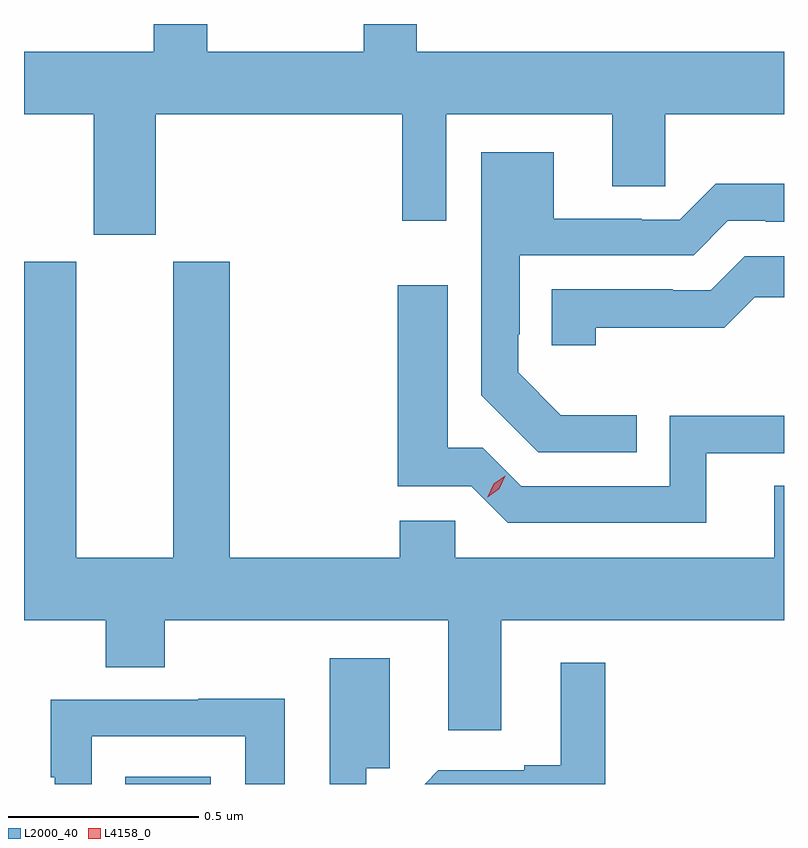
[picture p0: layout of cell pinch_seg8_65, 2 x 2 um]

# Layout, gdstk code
import gdstk
lib = gdstk.Library(unit=1e-6, precision=1e-09)
def R(c, l, rs):  # rectangles x0, y0, x1, y1
    for r in rs: c.add(gdstk.rectangle(r[:2], r[2:], *l))
def P(c, l, *ps):  # polygons
    for p in ps: c.add(gdstk.Polygon(p, *l))
L2000_40 = (2000, 40)
L4158_0 = (4158, 0)

pinch_seg8_65 = lib.new_cell('pinch_seg8_65')
R(pinch_seg8_65, L2000_40, [(885.26,1121.397,885.484,1121.416)])
P(pinch_seg8_65, L2000_40, [(885.34,1123.16),(885.988,1123.16),(885.988,1122.879),(886.104,1122.879),(886.104,1123.16),(886.541,1123.16),(886.541,1122.97),(886.68,1122.97),(886.68,1123.16),(886.993,1123.16),(886.993,1123.324),(886.027,1123.324),(886.027,1123.397),(885.887,1123.397),(885.887,1123.324),(885.475,1123.324),(885.475,1123.397),(885.335,1123.397),(885.335,1123.324),(884.993,1123.324),(884.993,1123.16),(885.176,1123.16),(885.176,1122.843),(885.34,1122.843)],
  [(886.606,1122.368),(886.406,1122.368),(886.293,1122.48),(886.293,1122.58),(886.297,1122.58),(886.297,1122.789),(886.755,1122.789),(886.845,1122.879),(886.945,1122.879),(886.945,1122.876),(886.993,1122.876),(886.993,1122.976),(886.813,1122.976),(886.719,1122.882),(886.619,1122.882),(886.619,1122.885),(886.387,1122.885),(886.387,1123.06),(886.196,1123.06),(886.196,1122.42),(886.346,1122.27),(886.606,1122.27)],
  [(886.498,1122.598),(886.836,1122.598),(886.916,1122.678),(886.993,1122.678),(886.993,1122.786),(886.89,1122.786),(886.8,1122.696),(886.7,1122.696),(886.7,1122.699),(886.382,1122.699),(886.382,1122.552),(886.498,1122.552)],
  [(886.249,1121.828),(886.993,1121.828),(886.993,1122.182),(886.967,1122.182),(886.967,1121.992),(886.128,1121.992),(886.128,1122.09),(885.982,1122.09),(885.982,1121.992),(885.534,1121.992),(885.534,1122.771),(885.386,1122.771),(885.386,1121.992),(885.13,1121.992),(885.13,1122.771),(884.993,1122.771),(884.993,1121.828),(885.208,1121.828),(885.208,1121.704),(885.363,1121.704),(885.363,1121.828),(886.109,1121.828),(886.109,1121.538),(886.249,1121.538)],
  [(886.789,1122.267),(886.993,1122.267),(886.993,1122.366),(886.692,1122.366),(886.692,1122.18),(886.302,1122.18),(886.2,1122.282),(886.108,1122.282),(886.108,1122.709),(885.976,1122.709),(885.976,1122.18),(886.17,1122.18),(886.266,1122.084),(886.789,1122.084)],
  [(885.894,1121.439),(885.955,1121.439),(885.955,1121.728),(885.798,1121.728),(885.798,1121.397),(885.894,1121.397)],
  [(886.523,1121.716),(886.406,1121.716),(886.406,1121.446),(886.31,1121.446),(886.31,1121.433),(886.083,1121.433),(886.047,1121.397),(886.523,1121.397)],
  [(885.171,1121.523),(885.575,1121.523),(885.575,1121.397),(885.679,1121.397),(885.679,1121.621),(885.451,1121.621),(885.451,1121.619),(885.063,1121.619),(885.063,1121.415),(885.074,1121.415),(885.074,1121.397),(885.171,1121.397)])
P(pinch_seg8_65, L4158_0, [(886.214,1122.152),(886.214,1122.153),(886.229,1122.187),(886.259,1122.208),(886.26,1122.208),(886.26,1122.208),(886.244,1122.174),(886.214,1122.152)])

lib.write_gds('pinch_seg8_65.gds')
